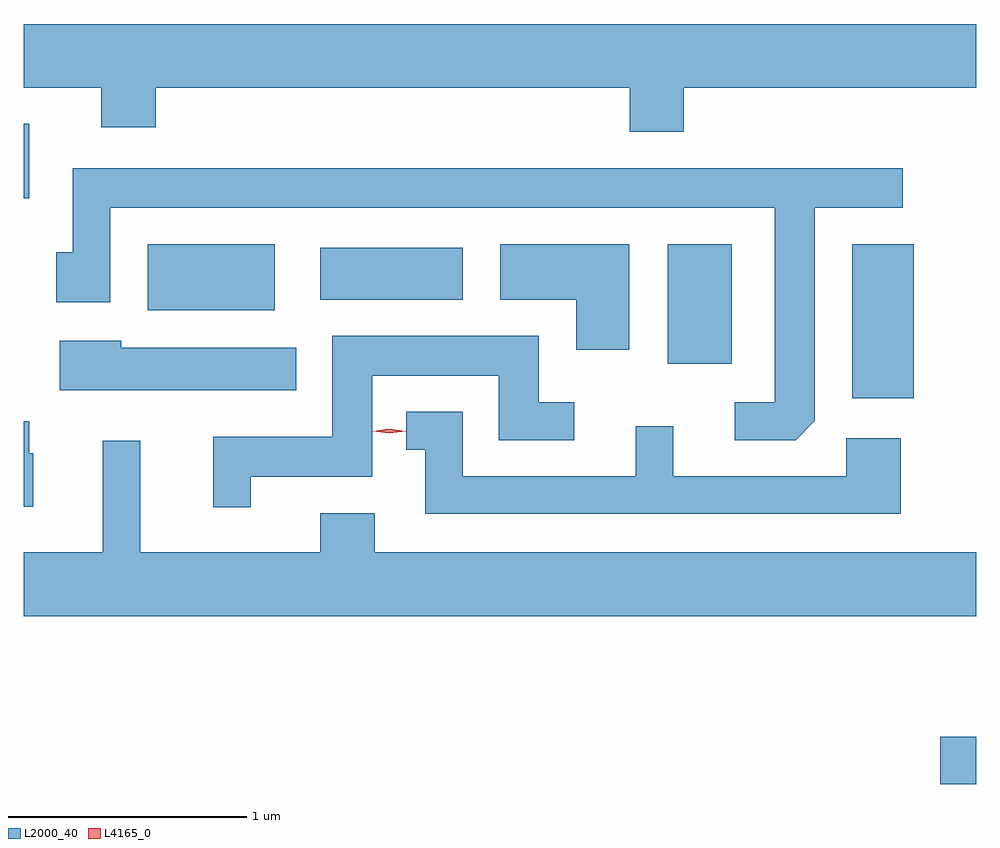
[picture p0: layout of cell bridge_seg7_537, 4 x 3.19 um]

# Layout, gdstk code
import gdstk
lib = gdstk.Library(unit=1e-6, precision=1e-09)
def R(c, l, rs):  # rectangles x0, y0, x1, y1
    for r in rs: c.add(gdstk.rectangle(r[:2], r[2:], *l))
def P(c, l, *ps):  # polygons
    for p in ps: c.add(gdstk.Polygon(p, *l))
L2000_40 = (2000, 40)
L4165_0 = (4165, 0)

bridge_seg7_537 = lib.new_cell('bridge_seg7_537')
R(bridge_seg7_537, L2000_40, [(850.556,1766.891,850.706,1767.089), (850.186,1768.511,850.444,1769.159), (849.411,1768.656,849.679,1769.159), (847.226,1768.881,847.759,1769.159), (847.951,1768.926,848.549,1769.144), (846.706,1769.351,846.729,1769.664)])
P(bridge_seg7_537, L2000_40, [(849.479,1769.816),(850.706,1769.816),(850.706,1770.084),(846.706,1770.084),(846.706,1769.816),(847.031,1769.816),(847.031,1769.651),(847.259,1769.651),(847.259,1769.816),(849.251,1769.816),(849.251,1769.631),(849.479,1769.631)],
  [(850.029,1768.417),(850.029,1769.311),(850.398,1769.311),(850.398,1769.479),(846.911,1769.479),(846.911,1769.124),(846.841,1769.124),(846.841,1768.916),(847.069,1768.916),(847.069,1769.311),(849.861,1769.311),(849.861,1768.494),(849.693,1768.494),(849.693,1768.336),(849.949,1768.336)],
  [(849.249,1769.159),(848.706,1769.159),(848.706,1768.926),(849.026,1768.926),(849.026,1768.716),(849.249,1768.716)],
  [(847.659,1768.181),(848.169,1768.181),(848.169,1768.606),(848.701,1768.606),(848.701,1768.336),(849.018,1768.336),(849.018,1768.494),(848.869,1768.494),(848.869,1768.774),(848.001,1768.774),(848.001,1768.349),(847.501,1768.349),(847.501,1768.053),(847.659,1768.053)],
  [(847.849,1768.724),(847.114,1768.724),(847.114,1768.754),(846.856,1768.754),(846.856,1768.546),(847.849,1768.546)],
  [(850.389,1768.344),(850.161,1768.344),(850.161,1768.184),(849.434,1768.184),(849.434,1768.393),(849.276,1768.393),(849.276,1768.184),(848.549,1768.184),(848.549,1768.454),(848.313,1768.454),(848.313,1768.296),(848.391,1768.296),(848.391,1768.026),(850.389,1768.026)],
  [(846.744,1768.28),(846.729,1768.28),(846.729,1768.414),(846.706,1768.414),(846.706,1768.056),(846.744,1768.056)],
  [(847.036,1768.333),(847.036,1767.864),(846.706,1767.864),(846.706,1767.596),(850.706,1767.596),(850.706,1767.864),(848.179,1767.864),(848.179,1768.029),(847.951,1768.029),(847.951,1767.864),(847.194,1767.864),(847.194,1768.333)])
P(bridge_seg7_537, L4165_0, [(848.241,1768.364),(848.172,1768.374),(848.172,1768.374),(848.172,1768.374),(848.241,1768.384),(848.311,1768.374),(848.311,1768.374),(848.311,1768.374)])

lib.write_gds('bridge_seg7_537.gds')
